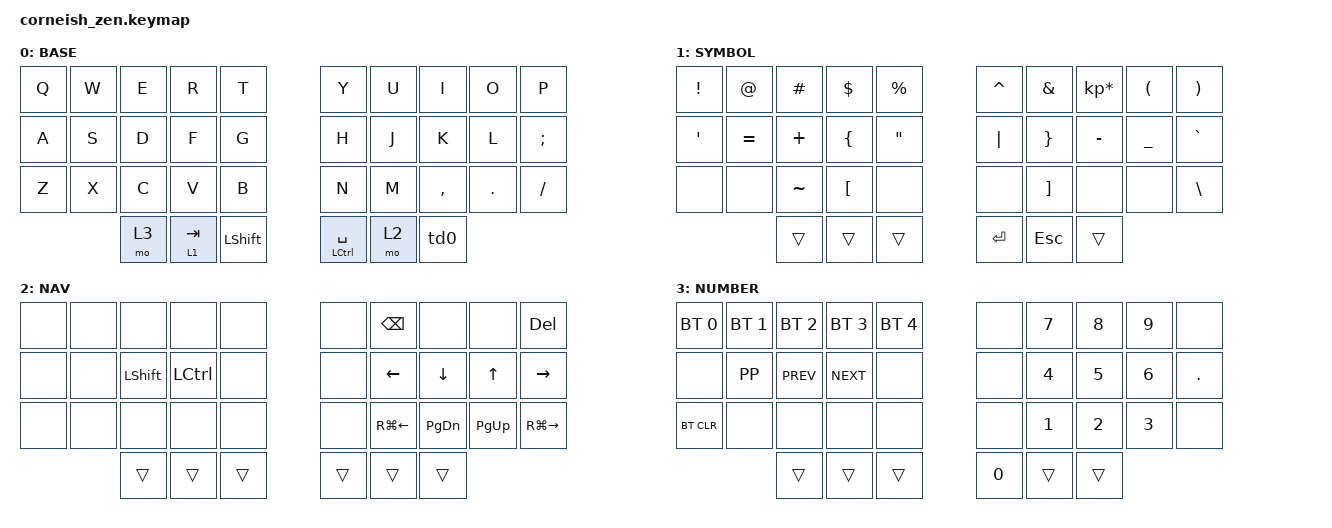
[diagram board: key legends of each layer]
#include <behaviors.dtsi>
#include <dt-bindings/zmk/bt.h>
#include <dt-bindings/zmk/keys.h>
#include <dt-bindings/zmk/modifiers.h>

#define XXXXX &none
#define _____ &trans

#define GUALT &td0
#define SPCCT &ht_hp LCTRL SPACE
#define L1TAB &ht_mo 1 TAB
#define LY2__ &mo 2
#define LY3__ &mo 3

#define LCTL_ &kp LCTRL
#define LSFT_ &kp LSHFT
#define ENDm_ &kp RG(RIGHT)
#define HOMEm &kp RG(LEFT)

#define A____ &kp A
#define B____ &kp B
#define C____ &kp C
#define D____ &kp D
#define E____ &kp E
#define F____ &kp F
#define G____ &kp G
#define H____ &kp H
#define I____ &kp I
#define J____ &kp J
#define K____ &kp K
#define L____ &kp L
#define M____ &kp M
#define N____ &kp N
#define O____ &kp O
#define P____ &kp P
#define Q____ &kp Q
#define R____ &kp R
#define S____ &kp S
#define T____ &kp T
#define U____ &kp U
#define V____ &kp V
#define W____ &kp W
#define X____ &kp X
#define Y____ &kp Y
#define Z____ &kp Z

#define AMPS_ &kp AMPS
#define APOS_ &kp APOS
#define AT___ &kp AT
#define BSLH_ &kp BSLH
#define BSPC_ &kp BSPC
#define CRT__ &kp CARET
#define CMMA_ &kp COMMA
#define DEL__ &kp DEL
#define DLLR_ &kp DLLR
#define DOT__ &kp DOT
#define DQUT_ &kp DQT
#define ENTR_ &kp ENTER
#define EQUL_ &kp EQUAL
#define ESC__ &kp ESC
#define EXCL_ &kp EXCL
#define FSLH_ &kp FSLH
#define GRAV_ &kp GRAVE
#define HASH_ &kp HASH
#define LBKT_ &kp LBKT
#define LBRC_ &kp LBRC
#define LPAR_ &kp LPAR
#define MINS_ &kp MINUS
#define MUL__ &kp KP_MULTIPLY
#define PIPE_ &kp PIPE
#define PLUS_ &kp PLUS
#define PRCT_ &kp PRCNT
#define RBKT_ &kp RBKT
#define RBRC_ &kp RBRC
#define RPAR_ &kp RPAR
#define SEMI_ &kp SEMI
#define TILD_ &kp TILDE
#define UNDR_ &kp UNDER
#define N0___ &kp N0
#define N1___ &kp N1
#define N2___ &kp N2
#define N3___ &kp N3
#define N4___ &kp N4
#define N5___ &kp N5
#define N6___ &kp N6
#define N7___ &kp N7
#define N8___ &kp N8
#define N9___ &kp N9

#define BTC__ &bt BT_CLR
#define BT0__ &bt BT_SEL 0
#define BT1__ &bt BT_SEL 1
#define BT2__ &bt BT_SEL 2
#define BT3__ &bt BT_SEL 3
#define BT4__ &bt BT_SEL 4

#define NEXT_ &kp K_NEXT
#define PLAY_ &kp K_PP
#define PREV_ &kp K_PREV

#define DOWN_ &kp DOWN
#define LEFT_ &kp LEFT
#define PGDN_ &kp PG_DN
#define PGUP_ &kp PG_UP
#define RGHT_ &kp RIGHT
#define UP___ &kp UP

/ {
  chosen {
    zmk,matrix_transform = &five_column_transform;
  };
};

/ {
    behaviors {
        ht_hp: behavior_tap_preferred {
            compatible = "zmk,behavior-hold-tap";
            label = "MOD_TAP";
            #binding-cells = <2>;
            flavor = "tap-preferred";
            tapping_term_ms = <200>;
            bindings = <&kp>, <&kp>;
            retro-tap;
        };

        ht_mo: behavior_hold_preferred {
            compatible = "zmk,behavior-hold-tap";
            label = "LAY_TAP";
            #binding-cells = <2>;
            flavor = "hold-preferred";
            tapping_term_ms = <200>;
            bindings = <&mo>, <&kp>;
            retro-tap;
        };

        td0: tap_dance_0 {
            compatible = "zmk,behavior-tap-dance";
            label = "TAP_DANCE_0";
            #binding-cells = <0>;
            tapping-term-ms = <200>;
            bindings = <&kp RGUI>, <&kp RALT>;
        };
    };

    keymap {
        compatible = "zmk,keymap";

        // base
        //             ┌─────┐                                      ┌─────┐
        //       ┌─────┤  E  ├─────┐                          ┌─────┤  I  ├─────┐
        // ┌─────┤  W  ├─────┤  R  ├─────┐              ┌─────┤  U  ├─────┤  O  ├─────┐
        // │  Q  ├─────┤  D  ├─────┤  T  │              │  Y  ├─────┤  K  ├─────┤  P  │
        // ├─────┤  S  ├─────┤  F  ├─────┤              ├─────┤  J  ├─────┤  L  ├─────┤
        // │  A  ├─────┤  C  ├─────┤  G  │              │  H  ├─────┤  ,  ├─────┤  ;  │
        // ├─────┤  X  ├─────┤  V  ├─────┤              ├─────┤  M  ├─────┤  .  ├─────┤
        // │  Z  ├─────┘     └─────┤  B  │              │  N  ├─────┘     └─────┤  /  │
        // └─────┘        ┌─────┐  └─────┘              └─────┘  ┌─────┐        └─────┘
        //                │ ly3 │┌─────┐┌─────┐    ┌─────┐┌─────┐│gu/al│
        //                └─────┘│l1/tb││shift│    │sp/ct││ ly2 │└─────┘
        //                       └─────┘└─────┘    └─────┘└─────┘
        default_layer {
            label = "BASE";
            bindings = <
                Q____ W____ E____ R____ T____       Y____ U____ I____ O____ P____
                A____ S____ D____ F____ G____       H____ J____ K____ L____ SEMI_
                Z____ X____ C____ V____ B____       N____ M____ CMMA_ DOT__ FSLH_
                            LY3__ L1TAB LSFT_       SPCCT LY2__ GUALT
            >;
        };

        // layer 1 - symbols
        //             ┌─────┐                                      ┌─────┐
        //       ┌─────┤  #  ├─────┐                          ┌─────┤  *  ├─────┐
        // ┌─────┤  @  ├─────┤  $  ├─────┐              ┌─────┤  &  ├─────┤  (  ├─────┐
        // │  !  ├─────┤  +  ├─────┤  %  │              │  ^  ├─────┤  -  ├─────┤  )  │
        // ├─────┤  =  ├─────┤  {  ├─────┤              ├─────┤  }  ├─────┤  _  ├─────┤
        // │  '  ├─────┤  ~  ├─────┤  "  │              │  |  ├─────┤     ├─────┤  `  │
        // ├─────┤     ├─────┤  [  ├─────┤              ├─────┤  ]  ├─────┤     ├─────┤
        // │     ├─────┘     └─────┤     │              │     ├─────┘     └─────┤  \  │
        // └─────┘        ┌─────┐  └─────┘              └─────┘  ┌─────┐        └─────┘
        //                │     │┌─────┐┌─────┐    ┌─────┐┌─────┐│     │
        //                └─────┘│     ││     │    │ ENT ││ ESC │└─────┘
        //                       └─────┘└─────┘    └─────┘└─────┘
        symbols_layer {
           label = "SYMBOL";
           bindings = <
                EXCL_ AT___ HASH_ DLLR_ PRCT_       CRT__ AMPS_ MUL__ LPAR_ RPAR_
                APOS_ EQUL_ PLUS_ LBRC_ DQUT_       PIPE_ RBRC_ MINS_ UNDR_ GRAV_
                XXXXX XXXXX TILD_ LBKT_ XXXXX       XXXXX RBKT_ XXXXX XXXXX BSLH_
                            _____ _____ _____       ENTR_ ESC__ _____
           >;
        };

        // layer 2 - navigation
        //             ┌─────┐                                      ┌─────┐
        //       ┌─────┤     ├─────┐                          ┌─────┤     ├─────┐
        // ┌─────┤     ├─────┤     ├─────┐              ┌─────┤ bsp ├─────┤     ├─────┐
        // │     ├─────┤shift├─────┤     │              │     ├─────┤down ├─────┤ del │
        // ├─────┤     ├─────┤ctrl ├─────┤              ├─────┤left ├─────┤ up  ├─────┤
        // │     ├─────┤     ├─────┤     │              │     ├─────┤pgdwn├─────┤right│
        // ├─────┤     ├─────┤     ├─────┤              ├─────┤home ├─────┤pgup ├─────┤
        // │     ├─────┘     └─────┤     │              │     ├─────┘     └─────┤ end │
        // └─────┘        ┌─────┐  └─────┘              └─────┘  ┌─────┐        └─────┘
        //                │     │┌─────┐┌─────┐    ┌─────┐┌─────┐│     │
        //                └─────┘│     ││     │    │     ││     │└─────┘
        //                       └─────┘└─────┘    └─────┘└─────┘
        navigation_layer {
            label = "NAV";
            bindings = <
                XXXXX XXXXX XXXXX XXXXX XXXXX       XXXXX BSPC_ XXXXX XXXXX DEL__
                XXXXX XXXXX LSFT_ LCTL_ XXXXX       XXXXX LEFT_ DOWN_ UP___ RGHT_
                XXXXX XXXXX XXXXX XXXXX XXXXX       XXXXX HOMEm PGDN_ PGUP_ ENDm_
                            _____ _____ _____       _____ _____ _____
            >;
        };

        // layer 3 - numbers and media
        //             ┌─────┐                                      ┌─────┐
        //       ┌─────┤ BT3 ├─────┐                          ┌─────┤  8  ├─────┐
        // ┌─────┤ BT2 ├─────┤ BT4 ├─────┐              ┌─────┤  7  ├─────┤  9  ├─────┐
        // │ BT1 ├─────┤prev ├─────┤ BT5 │              │     ├─────┤  5  ├─────┤     │
        // ├─────┤play ├─────┤next ├─────┤              ├─────┤  4  ├─────┤  6  ├─────┤
        // │     ├─────┤     ├─────┤     │              │     ├─────┤  2  ├─────┤  .  │
        // ├─────┤     ├─────┤     ├─────┤              ├─────┤  1  ├─────┤  3  ├─────┤
        // │ CLR ├─────┘     └─────┤     │              │     ├─────┘     └─────┤     │
        // └─────┘        ┌─────┐  └─────┘              └─────┘  ┌─────┐        └─────┘
        //                │     │┌─────┐┌─────┐    ┌─────┐┌─────┐│     │
        //                └─────┘│     ││     │    │  0  ││     │└─────┘
        //                       └─────┘└─────┘    └─────┘└─────┘
        numbers_layer {
            label = "NUMBER";
            bindings = <
                BT0__ BT1__ BT2__ BT3__ BT4__       XXXXX N7___ N8___ N9___ XXXXX
                XXXXX PLAY_ PREV_ NEXT_ XXXXX       XXXXX N4___ N5___ N6___ DOT__
                BTC__ XXXXX XXXXX XXXXX XXXXX       XXXXX N1___ N2___ N3___ XXXXX
                            _____ _____ _____       N0___ _____ _____
            >;
        };
    };
};
